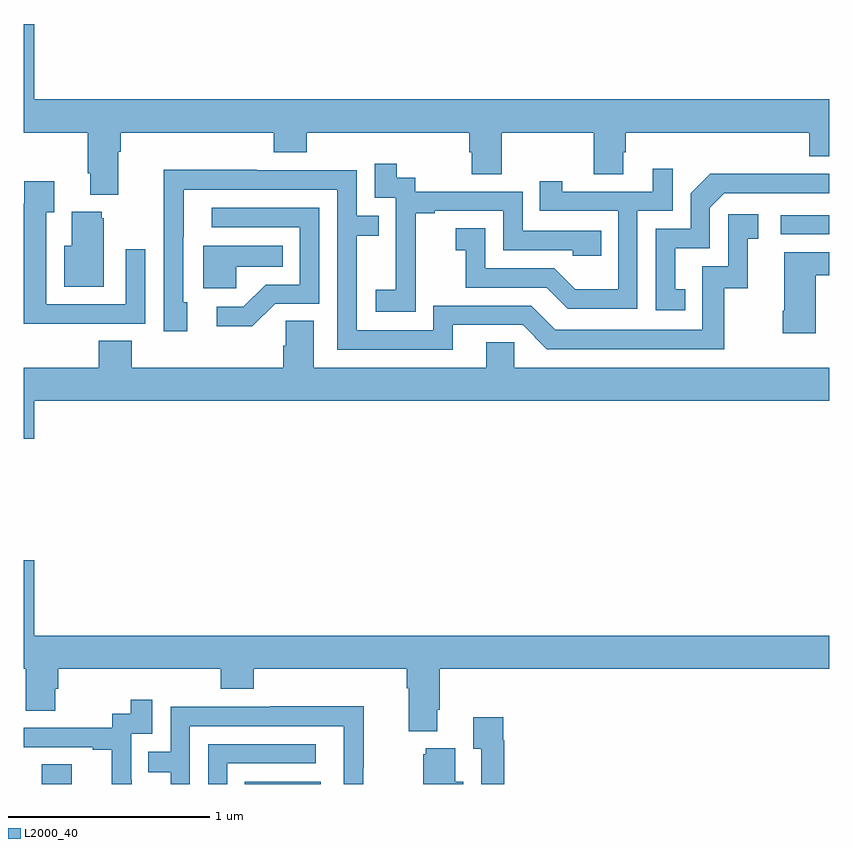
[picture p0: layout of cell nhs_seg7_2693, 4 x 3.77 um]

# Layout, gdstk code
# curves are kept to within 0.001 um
import gdstk
lib = gdstk.Library(unit=1e-6, precision=1e-09)
def R(c, l, rs):  # rectangles x0, y0, x1, y1
    for r in rs: c.add(gdstk.rectangle(r[:2], r[2:], *l))
def P(c, l, *ps):  # polygons
    for p in ps: c.add(gdstk.Polygon(p, *l))
L2000_40 = (2000, 40)

nhs_seg7_2693 = lib.new_cell('nhs_seg7_2693')
R(nhs_seg7_2693, L2000_40, [(285.09,1044,285.238,1044.097), (286.096,1044,286.474,1044.01), (288.759,1046.73,289,1046.826)])
P(nhs_seg7_2693, L2000_40, [(285.469,1047.14),(285.482,1047.14),(285.482,1047.236),(286.241,1047.236),(286.241,1047.137),(286.406,1047.137),(286.406,1047.236),(287.213,1047.236),(287.213,1047.138),(287.225,1047.138),(287.225,1047.028),(287.373,1047.028),(287.373,1047.236),(287.83,1047.236),(287.83,1047.028),(287.977,1047.028),(287.977,1047.138),(287.99,1047.138),(287.99,1047.236),(288.902,1047.236),(288.902,1047.119),(289,1047.119),(289,1047.4),(285.052,1047.4),(285.052,1047.775),(285,1047.775),(285,1047.236),(285.317,1047.236),(285.317,1047.034),(285.329,1047.034),(285.329,1046.927),(285.469,1046.927)],
  [(286.947,1046.551),(286.946,1046.551),(286.946,1046.835),(287.041,1046.835),(287.041,1046.847),(287.382,1046.847),(287.382,1046.652),(287.727,1046.652),(287.727,1046.625),(287.867,1046.625),(287.867,1046.748),(287.478,1046.748),(287.478,1046.943),(286.944,1046.943),(286.944,1047.012),(286.852,1047.012),(286.852,1047.082),(286.743,1047.082),(286.743,1046.913),(286.848,1046.913),(286.848,1046.684),(286.847,1046.684),(286.847,1046.455),(286.749,1046.455),(286.749,1046.345),(286.947,1046.345)],
  [(288.048,1046.847),(288.222,1046.847),(288.222,1047.055),(288.125,1047.055),(288.125,1046.943),(287.674,1046.943),(287.674,1046.995),(287.563,1046.995),(287.563,1046.847),(287.952,1046.847),(287.952,1046.458),(287.738,1046.458),(287.634,1046.562),(287.292,1046.562),(287.292,1046.761),(287.145,1046.761),(287.145,1046.651),(287.194,1046.651),(287.194,1046.466),(287.597,1046.466),(287.702,1046.361),(288.048,1046.361)],
  [(287.131,1046.28),(287.478,1046.28),(287.598,1046.16),(288.478,1046.16),(288.478,1046.463),(288.596,1046.463),(288.596,1046.709),(288.649,1046.709),(288.649,1046.83),(288.498,1046.83),(288.498,1046.571),(288.369,1046.571),(288.369,1046.256),(287.64,1046.256),(287.52,1046.376),(287.034,1046.376),(287.034,1046.253),(286.653,1046.253),(286.653,1046.722),(286.763,1046.722),(286.763,1046.823),(286.653,1046.823),(286.653,1047.048),(286.157,1047.048),(286.157,1047.05),(285.694,1047.05),(285.694,1046.743),(285.696,1046.743),(285.696,1046.25),(285.811,1046.25),(285.811,1046.394),(285.792,1046.394),(285.793,1046.952),(286.557,1046.952),(286.557,1046.157),(287.131,1046.157)],
  [(288.284,1046.457),(288.235,1046.457),(288.235,1046.661),(288.408,1046.661),(288.408,1046.862),(288.48,1046.934),(289,1046.934),(289,1047.03),(288.818,1047.03),(288.818,1047.032),(288.41,1047.032),(288.312,1046.934),(288.312,1046.757),(288.138,1046.757),(288.138,1046.352),(288.284,1046.352)],
  [(285.287,1046.286),(285.603,1046.286),(285.603,1046.656),(285.507,1046.656),(285.507,1046.382),(285.111,1046.382),(285.111,1046.839),(285.151,1046.839),(285.151,1046.995),(285.003,1046.995),(285.003,1046.882),(285,1046.882),(285,1046.285),(285.287,1046.285)],
  [(286.248,1046.385),(286.467,1046.385),(286.467,1046.862),(285.933,1046.862),(285.933,1046.766),(286.371,1046.766),(286.371,1046.481),(286.202,1046.481),(286.091,1046.37),(285.957,1046.37),(285.957,1046.273),(286.135,1046.273)],
  [(285.397,1046.811),(285.386,1046.811),(285.386,1046.842),(285.239,1046.842),(285.239,1046.674),(285.2,1046.674),(285.2,1046.471),(285.397,1046.471)],
  [(286.056,1046.57),(286.286,1046.57),(286.286,1046.674),(285.89,1046.674),(285.89,1046.462),(286.056,1046.462)],
  [(288.934,1046.527),(289,1046.527),(289,1046.641),(288.776,1046.641),(288.776,1046.35),(288.769,1046.35),(288.769,1046.238),(288.934,1046.238)],
  [(285.052,1045.904),(289,1045.904),(289,1046.068),(287.436,1046.068),(287.436,1046.195),(287.297,1046.195),(287.297,1046.068),(286.441,1046.068),(286.441,1046.3),(286.302,1046.3),(286.302,1046.177),(286.289,1046.177),(286.289,1046.068),(285.536,1046.068),(285.536,1046.201),(285.371,1046.201),(285.371,1046.068),(285,1046.068),(285,1045.716),(285.052,1045.716)],
  [(287.053,1044.37),(287.066,1044.37),(287.066,1044.572),(289,1044.572),(289,1044.736),(285.052,1044.736),(285.052,1045.111),(285,1045.111),(285,1044.572),(285.01,1044.572),(285.01,1044.364),(285.157,1044.364),(285.157,1044.474),(285.17,1044.474),(285.17,1044.572),(285.977,1044.572),(285.977,1044.473),(286.142,1044.473),(286.142,1044.572),(286.901,1044.572),(286.901,1044.476),(286.913,1044.476),(286.913,1044.263),(287.053,1044.263)],
  [(285.536,1044.02),(285.534,1044.02),(285.534,1044.249),(285.639,1044.249),(285.639,1044.418),(285.531,1044.418),(285.531,1044.348),(285.438,1044.348),(285.438,1044.279),(285,1044.279),(285,1044.183),(285.341,1044.183),(285.341,1044.171),(285.437,1044.171),(285.437,1044),(285.536,1044)],
  [(285.825,1044.288),(286.59,1044.288),(286.59,1044),(286.686,1044),(286.686,1044.079),(286.689,1044.079),(286.689,1044.386),(286.225,1044.386),(286.225,1044.384),(285.729,1044.384),(285.729,1044.159),(285.619,1044.159),(285.619,1044.058),(285.729,1044.058),(285.729,1044),(285.825,1044)],
  [(287.387,1044.218),(287.38,1044.218),(287.38,1044.331),(287.231,1044.331),(287.231,1044.175),(287.271,1044.175),(287.271,1044),(287.387,1044)],
  [(286.011,1044.102),(286.45,1044.102),(286.45,1044.198),(285.915,1044.198),(285.915,1044),(286.011,1044)],
  [(287.182,1044.01),(287.143,1044.01),(287.143,1044.178),(286.997,1044.178),(286.997,1044.147),(286.985,1044.147),(286.985,1044),(287.182,1044)])

lib.write_gds('nhs_seg7_2693.gds')
